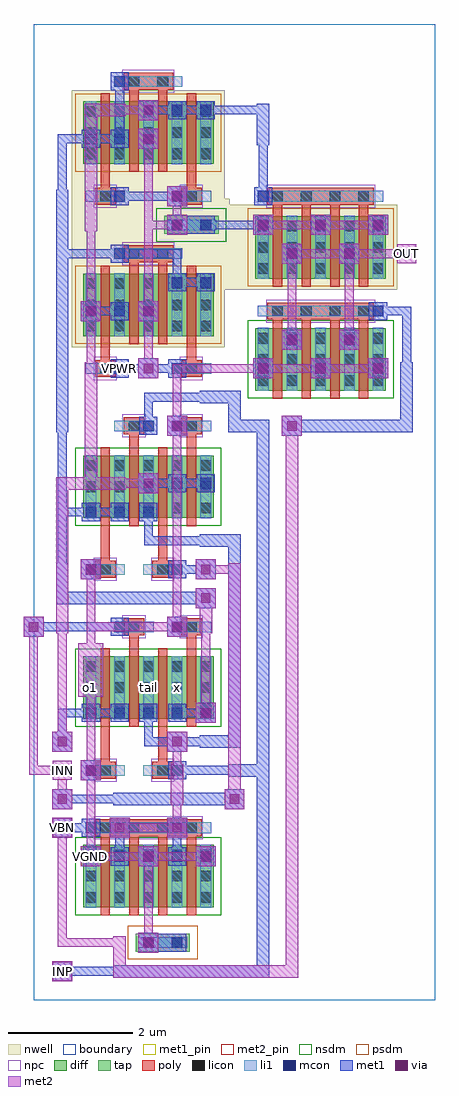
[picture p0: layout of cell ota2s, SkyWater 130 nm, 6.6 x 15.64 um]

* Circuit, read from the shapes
.subckt ota2s INN INP OUT VBN VGND VPWR o1 tail x
XM1 tail VBN VGND VGND sky130_fd_pr__nfet_01v8 w=1 l=0.15 m=4
XM2 o1 VGND o1 VGND sky130_fd_pr__nfet_01v8 w=1 l=0.15 m=2
XM3 x VGND x VGND sky130_fd_pr__nfet_01v8 w=1 l=0.15 m=2
XM4 tail INN o1 VGND sky130_fd_pr__nfet_01v8 w=1 l=0.15 m=2
XM5 tail INP x VGND sky130_fd_pr__nfet_01v8 w=1 l=0.15 m=2
XM6 OUT VBN VGND VGND sky130_fd_pr__nfet_01v8 w=1 l=0.15 m=4
XM7 o1 VPWR o1 VPWR sky130_fd_pr__pfet_01v8 w=1 l=0.15 m=2
XM8 x VPWR x VPWR sky130_fd_pr__pfet_01v8 w=1 l=0.15 m=2
XM9 VPWR x o1 VPWR sky130_fd_pr__pfet_01v8 w=1 l=0.15 m=2
XM10 VPWR x x VPWR sky130_fd_pr__pfet_01v8 w=1 l=0.15 m=2
XM11 OUT o1 VPWR VPWR sky130_fd_pr__pfet_01v8 w=1 l=0.15 m=4
.ends

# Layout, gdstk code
import gdstk
lib = gdstk.Library(unit=1e-6, precision=1e-09)
def R(c, l, rs):  # rectangles x0, y0, x1, y1
    for r in rs: c.add(gdstk.rectangle(r[:2], r[2:], *l))
def A(c, l, x, y, w, h, nx, ny, dx, dy):  # array of equal rectangles
    R(c, l, [(x+i*dx, y+j*dy, x+i*dx+w, y+j*dy+h) for i in range(nx) for j in range(ny)])
nwell = (64, 20)
diff = (65, 20)
tap = (65, 44)
poly = (66, 20)
licon = (66, 44)
li1 = (67, 20)
mcon = (67, 44)
met1_pin = (68, 16)
met1 = (68, 20)
via = (68, 44)
met2_pin = (69, 16)
met2 = (69, 20)
nsdm = (93, 44)
psdm = (94, 20)
npc = (95, 20)
boundary = (235, 4)

ota2s = lib.new_cell('ota2s')
R(ota2s, nwell, [(0.615,10.46,3.065,11.38), (0.615,11.38,5.825,12.74), (0.615,12.74,3.145,12.84), (0.615,12.84,3.065,14.58)])
R(ota2s, diff, [(0.795,1.485,2.885,2.485), (0.795,4.505,2.885,5.505), (0.795,7.725,2.885,8.725), (3.555,9.765,5.645,10.765), (0.795,10.64,2.885,11.64), (3.555,11.56,5.645,12.56), (0.795,13.4,2.885,14.4)])
R(ota2s, tap, [(1.635,0.775,2.505,1.065), (2.095,12.275,2.965,12.565)])
A(ota2s, poly, 1.075, 1.355, 0.15, 1.405, 4, 1, 0.46, 0)
A(ota2s, poly, 0.985, 3.545, 0.33, 0.27, 1, 3, 0, 3.22)
A(ota2s, poly, 3.835, 9.635, 0.15, 1.405, 4, 1, 0.46, 0)
A(ota2s, poly, 3.835, 11.43, 0.15, 1.45, 4, 1, 0.46, 0)
R(ota2s, poly, [(0.985,2.625,2.695,2.895), (1.905,3.545,2.235,3.815), (1.075,3.68,1.225,5.635), (1.995,3.68,2.145,5.635), (1.535,4.375,1.685,5.98), (2.455,4.375,2.605,5.98), (1.445,5.845,1.775,6.115), (2.365,5.845,2.695,6.115), (1.905,6.765,2.235,7.035), (1.075,6.9,1.225,8.855), (1.995,6.9,2.145,8.855), (1.535,7.595,1.685,9.2), (2.455,7.595,2.605,9.2), (1.445,9.065,1.775,9.335), (2.365,9.065,2.695,9.335), (2.365,9.985,2.695,10.255), (1.075,10.12,1.225,11.77), (2.455,10.12,2.605,11.77), (1.535,10.51,1.685,11.96), (1.995,10.51,2.145,11.96), (3.745,10.905,5.455,11.175), (1.445,11.825,2.235,12.095), (0.985,12.745,1.315,13.015), (2.365,12.745,2.695,13.015), (3.745,12.745,5.455,13.015), (1.075,12.88,1.225,14.53), (2.455,12.88,2.605,14.53), (1.535,13.27,1.685,14.72), (1.995,13.27,2.145,14.72), (1.445,14.585,2.235,14.855)])
A(ota2s, licon, 0.835, 1.56, 0.17, 0.17, 5, 3, 0.46, 0.34)
A(ota2s, licon, 1.065, 2.675, 0.17, 0.17, 4, 1, 0.46, 0)
A(ota2s, licon, 1.065, 3.595, 0.17, 0.17, 1, 3, 0, 3.22)
A(ota2s, licon, 0.835, 4.58, 0.17, 0.17, 5, 3, 0.46, 0.34)
A(ota2s, licon, 0.835, 7.8, 0.17, 0.17, 5, 3, 0.46, 0.34)
A(ota2s, licon, 1.525, 9.115, 0.17, 0.17, 1, 3, 0, 2.76)
A(ota2s, licon, 3.595, 9.84, 0.17, 0.17, 5, 3, 0.46, 0.34)
A(ota2s, licon, 0.835, 10.715, 0.17, 0.17, 5, 3, 0.46, 0.34)
A(ota2s, licon, 3.825, 10.955, 0.17, 0.17, 4, 1, 0.46, 0)
A(ota2s, licon, 3.595, 11.635, 0.17, 0.17, 5, 3, 0.46, 0.34)
A(ota2s, licon, 1.065, 12.795, 0.17, 0.17, 3, 1, 1.38, 0)
A(ota2s, licon, 4.285, 12.795, 0.17, 0.17, 3, 1, 0.46, 0)
A(ota2s, licon, 0.835, 13.475, 0.17, 0.17, 5, 3, 0.46, 0.34)
R(ota2s, licon, [(1.755,0.835,1.925,1.005), (2.215,0.835,2.385,1.005), (1.985,3.595,2.155,3.765), (1.525,5.895,1.695,6.065), (2.445,5.895,2.615,6.065), (1.985,6.815,2.155,6.985), (2.445,9.115,2.615,9.285), (2.445,10.035,2.615,10.205), (1.985,11.875,2.155,12.045), (2.215,12.335,2.385,12.505), (2.675,12.335,2.845,12.505), (1.985,14.635,2.155,14.805)])
A(ota2s, li1, 0.835, 1.48, 0.17, 1.01, 5, 2, 0.46, 3.02)
A(ota2s, li1, 0.835, 3.595, 0.63, 0.17, 1, 3, 0, 3.22)
A(ota2s, li1, 0.835, 7.72, 0.17, 1.01, 5, 2, 0.46, 2.915)
A(ota2s, li1, 3.595, 9.76, 0.17, 1.01, 5, 2, 0.46, 1.795)
A(ota2s, li1, 0.835, 13.395, 0.17, 1.01, 5, 1, 0.46, 0)
R(ota2s, li1, [(1.675,0.835,2.465,1.005), (0.835,2.675,2.845,2.845), (1.755,3.595,2.385,3.765), (1.295,5.895,1.925,6.065), (2.215,5.895,2.845,6.065), (1.755,6.815,2.385,6.985), (1.295,9.115,1.925,9.285), (2.215,9.115,2.845,9.285), (2.215,10.035,2.845,10.205), (3.595,10.955,5.605,11.125), (1.295,11.875,2.385,12.045), (2.135,12.335,2.925,12.505), (0.835,12.795,1.465,12.965), (2.215,12.795,2.845,12.965), (3.595,12.795,5.605,12.965), (1.295,14.635,2.385,14.805)])
A(ota2s, mcon, 0.835, 2.215, 0.17, 0.17, 5, 2, 0.46, 2.3)
A(ota2s, mcon, 0.835, 7.735, 0.17, 0.17, 3, 2, 0.46, 3.22)
A(ota2s, mcon, 2.215, 8.195, 0.17, 0.17, 1, 3, 0, 0.92)
A(ota2s, mcon, 3.595, 10.035, 0.17, 0.17, 3, 1, 0.92, 0)
A(ota2s, mcon, 2.675, 12.335, 0.17, 0.17, 4, 1, 0.92, 0)
A(ota2s, mcon, 0.835, 13.715, 0.17, 0.17, 3, 1, 0.46, 0)
R(ota2s, mcon, [(1.755,0.835,1.925,1.005), (2.215,0.835,2.385,1.005), (0.835,2.675,1.005,2.845), (0.835,3.595,1.005,3.765), (2.215,3.595,2.385,3.765), (1.295,5.895,1.465,6.065), (2.215,5.895,2.385,6.065), (0.835,6.815,1.005,6.985), (2.215,6.815,2.385,6.985), (2.675,8.195,2.845,8.365), (1.755,9.115,1.925,9.285), (1.295,10.035,1.465,10.205), (4.055,10.495,4.225,10.665), (4.975,10.495,5.145,10.665), (5.435,10.955,5.605,11.125), (2.215,11.415,2.385,11.585), (2.675,11.415,2.845,11.585), (1.295,11.875,1.465,12.045), (4.055,11.875,4.225,12.045), (4.975,11.875,5.145,12.045), (2.215,12.335,2.385,12.505), (1.295,12.795,1.465,12.965), (2.215,12.795,2.385,12.965), (3.595,12.795,3.765,12.965), (2.215,14.175,2.385,14.345), (2.675,14.175,2.845,14.345), (1.295,14.635,1.465,14.805)])
R(ota2s, met1_pin, [(0.775,2.155,1.065,2.445), (1.235,9.975,1.525,10.265)])
A(ota2s, met1, 0.76, 2.14, 0.32, 0.32, 3, 1, 0.92, 0)
A(ota2s, met1, 0.775, 2.155, 0.29, 0.29, 5, 2, 0.46, 2.3)
A(ota2s, met1, 0.3, 2.6, 0.32, 0.32, 3, 1, 0.92, 0)
A(ota2s, met1, 0.85, 4.53, 0.6, 0.14, 1, 3, 0, 3.22)
A(ota2s, met1, 2.14, 5.82, 0.32, 0.32, 1, 3, 0, 3.22)
A(ota2s, met1, 0.775, 7.675, 0.29, 0.29, 3, 2, 0.46, 3.22)
A(ota2s, met1, 2.155, 8.135, 0.29, 0.29, 1, 3, 0, 0.92)
A(ota2s, met1, 3.98, 9.04, 0.32, 0.32, 1, 3, 0, 1.38)
A(ota2s, met1, 3.52, 9.96, 0.32, 0.32, 3, 2, 0.92, 2.3)
A(ota2s, met1, 3.535, 9.975, 0.29, 0.29, 3, 2, 0.92, 2.3)
A(ota2s, met1, 2.155, 11.355, 0.29, 0.29, 1, 3, 0, 1.38)
A(ota2s, met1, 0.775, 13.655, 0.29, 0.29, 3, 1, 0.46, 0)
R(ota2s, met1, [(0.3,0.3,0.62,0.62), (1.28,0.36,3.78,0.56), (3.58,0.36,3.78,3.78), (0.39,0.39,1.45,0.53), (1.68,0.76,2,1.08), (1.695,0.775,2.445,1.065), (1.77,0.85,1.91,0.99), (1.31,2.23,1.45,2.83), (2.23,2.23,2.37,2.83), (0.775,2.615,1.065,2.905), (0.39,2.69,0.99,2.83), (0.3,3.06,0.62,3.38), (3.06,3.06,3.38,3.38), (1.28,3.12,3.32,3.32), (0.39,3.15,1.45,3.29), (0.76,3.52,1.08,3.84), (0.775,3.535,1.065,3.825), (2.155,3.535,2.445,3.825), (3.12,3.58,3.78,3.78), (3.58,3.58,3.78,9.3), (2.23,3.61,3.29,3.75), (0.3,3.98,0.62,4.3), (2.14,3.98,2.46,4.3), (2.66,4.04,3.32,4.24), (3.12,4.04,3.32,7.46), (0.39,4.07,0.53,4.67), (1.77,4.07,1.91,4.67), (1.77,4.07,2.37,4.21), (2.23,4.07,2.83,4.21), (2.6,4.44,2.92,4.76), (0.39,4.53,0.99,4.67), (2.23,4.53,2.83,4.67), (-0.16,5.82,0.16,6.14), (1.235,5.835,1.525,6.125), (2.155,5.835,2.445,6.125), (-0.07,5.91,1.45,6.05), (2.6,6.28,2.92,6.6), (0.36,6.34,2.86,6.54), (0.36,6.34,0.56,7), (0.76,6.74,1.08,7.06), (2.6,6.74,2.92,7.06), (0.775,6.755,1.065,7.045), (2.155,6.755,2.445,7.045), (0.39,6.83,0.53,7.89), (2.23,6.83,2.83,6.97), (2.66,7.26,3.32,7.46), (1.77,7.29,1.91,7.89), (1.77,7.29,2.83,7.43), (0.39,7.75,0.99,7.89), (0.39,7.75,0.53,9.27), (1.68,8.12,2,8.44), (2.615,8.135,2.905,8.425), (1.77,8.21,2.37,8.35), (2.23,8.21,2.83,8.35), (1.695,9.055,1.985,9.345), (0.36,9.1,0.56,12.06), (3.12,9.1,3.78,9.3), (3.12,9.1,3.32,9.76), (4.04,9.1,6.08,9.3), (5.88,9.1,6.08,10.22), (1.77,9.13,1.91,9.73), (2.66,9.56,3.32,9.76), (1.77,9.59,2.83,9.73), (1.68,9.96,2,10.28), (1.235,9.975,1.525,10.265), (1.31,10.05,2.37,10.19), (5.91,10.05,6.05,11.11), (4.9,10.42,5.22,10.74), (3.995,10.435,4.285,10.725), (4.915,10.435,5.205,10.725), (0.76,10.88,1.08,11.2), (1.68,10.88,2,11.2), (5.375,10.895,5.665,11.185), (5.45,10.97,6.05,11.11), (2.615,11.355,2.905,11.645), (2.23,11.43,2.37,12.03), (2.23,11.43,2.83,11.57), (4.9,11.8,5.22,12.12), (1.235,11.815,1.525,12.105), (3.995,11.815,4.285,12.105), (4.915,11.815,5.205,12.105), (0.36,11.86,0.56,12.98), (0.39,11.89,1.45,12.03), (1.31,11.89,2.37,12.03), (2.155,12.275,2.905,12.565), (2.23,12.35,3.75,12.49), (2.23,12.35,2.37,12.49), (2.14,12.72,2.46,13.04), (1.235,12.735,1.525,13.025), (3.535,12.735,3.825,13.025), (0.39,12.81,0.53,13.87), (1.31,12.81,2.37,12.95), (3.61,12.81,3.75,13.87), (1.68,13.64,2,13.96), (3.58,13.7,3.78,14.36), (0.39,13.73,0.99,13.87), (0.85,13.73,1.45,13.87), (1.31,13.73,1.45,14.79), (1.68,14.1,2,14.42), (2.615,14.115,2.905,14.405), (1.77,14.19,2.37,14.33), (2.23,14.19,2.83,14.33), (2.69,14.19,3.75,14.33), (1.235,14.575,1.525,14.865)])
A(ota2s, via, 0.845, 2.225, 0.15, 0.15, 3, 1, 0.92, 0)
A(ota2s, via, 0.385, 2.685, 0.15, 0.15, 3, 1, 0.92, 0)
A(ota2s, via, 2.225, 5.905, 0.15, 0.15, 1, 3, 0, 3.22)
A(ota2s, via, 4.065, 9.125, 0.15, 0.15, 1, 3, 0, 1.38)
A(ota2s, via, 3.605, 10.045, 0.15, 0.15, 3, 2, 0.92, 2.3)
R(ota2s, via, [(0.385,0.385,0.535,0.535), (1.765,0.845,1.915,0.995), (0.385,3.145,0.535,3.295), (3.145,3.145,3.295,3.295), (0.845,3.605,0.995,3.755), (0.385,4.065,0.535,4.215), (2.225,4.065,2.375,4.215), (2.685,4.525,2.835,4.675), (-0.075,5.905,0.075,6.055), (2.685,6.365,2.835,6.515), (0.845,6.825,0.995,6.975), (2.685,6.825,2.835,6.975), (1.765,8.205,1.915,8.355), (1.765,10.045,1.915,10.195), (4.985,10.505,5.135,10.655), (0.845,10.965,0.995,11.115), (1.765,10.965,1.915,11.115), (4.985,11.885,5.135,12.035), (2.225,12.805,2.375,12.955), (1.765,13.725,1.915,13.875), (1.765,14.185,1.915,14.335)])
R(ota2s, met2_pin, [(0.31,0.31,0.61,0.61), (0.31,2.61,0.61,2.91), (0.31,3.53,0.61,3.83), (5.83,11.81,6.13,12.11)])
A(ota2s, met2, 0.76, 2.14, 0.32, 0.32, 3, 1, 0.92, 0)
A(ota2s, met2, 0.3, 2.6, 0.32, 0.32, 3, 1, 0.92, 0)
A(ota2s, met2, 2.14, 5.82, 0.32, 0.32, 1, 3, 0, 3.22)
A(ota2s, met2, 3.98, 9.04, 0.32, 0.32, 1, 3, 0, 1.38)
A(ota2s, met2, 3.52, 9.96, 0.32, 0.32, 3, 2, 0.92, 2.3)
R(ota2s, met2, [(0.3,0.3,0.62,0.62), (0.31,0.31,0.61,0.61), (1.28,0.36,1.48,1.02), (1.28,0.36,4.24,0.56), (4.04,0.36,4.24,9.3), (0.39,0.39,0.53,0.53), (1.68,0.76,2,1.08), (0.39,0.85,1.45,0.99), (0.39,0.85,0.53,2.83), (1.77,0.85,1.91,2.37), (0.85,2.23,0.99,3.75), (0.85,2.23,1.91,2.37), (1.77,2.23,2.83,2.37), (0.31,2.61,0.61,2.91), (0.39,2.69,0.53,2.83), (1.31,2.69,2.37,2.83), (2.23,2.69,2.37,3.29), (0.3,3.06,0.62,3.38), (3.06,3.06,3.38,3.38), (2.2,3.12,2.4,3.78), (3.12,3.12,3.32,7), (0.39,3.15,0.53,3.75), (0.76,3.52,1.08,3.84), (0.31,3.53,0.61,3.83), (-0.07,3.61,0.53,3.75), (-0.07,3.61,0.07,6.05), (0.39,3.61,0.53,3.75), (0.85,3.61,0.99,5.13), (2.23,3.61,2.37,4.21), (0.3,3.98,0.62,4.3), (2.14,3.98,2.46,4.3), (0.39,4.07,0.53,6.05), (2.6,4.44,2.92,4.76), (2.69,4.53,2.83,6.05), (0.72,4.86,1.12,5.72), (0.85,5.45,0.99,6.97), (-0.16,5.82,0.16,6.14), (0.36,5.88,0.56,8.38), (2.66,5.88,2.86,6.54), (0.85,5.91,2.37,6.05), (2.23,5.91,2.37,9.27), (2.6,6.28,2.92,6.6), (0.76,6.74,1.08,7.06), (2.6,6.74,2.92,7.06), (2.69,6.83,3.29,6.97), (1.68,8.12,2,8.44), (0.36,8.18,1.48,8.38), (0.82,8.18,1.02,10.22), (1.31,8.21,1.91,8.35), (2.23,9.13,2.37,10.19), (1.68,9.96,2,10.28), (0.85,10.05,0.99,11.11), (1.77,10.05,1.91,11.11), (2.23,10.05,3.75,10.19), (3.61,10.05,4.67,10.19), (4.53,10.05,5.59,10.19), (4.9,10.42,5.22,10.74), (4.07,10.51,4.21,12.03), (4.99,10.51,5.13,12.03), (0.76,10.88,1.08,11.2), (1.68,10.88,2,11.2), (0.85,10.97,0.99,12.49), (1.77,10.97,1.91,12.49), (4.9,11.8,5.22,12.12), (5.83,11.81,6.13,12.11), (4.07,11.89,5.13,12.03), (4.99,11.89,6.05,12.03), (5.91,11.89,6.05,12.03), (0.82,12.32,1.02,14.36), (1.77,12.35,1.91,13.87), (1.77,12.35,2.37,12.49), (2.23,12.35,2.37,12.95), (3.61,12.35,4.67,12.49), (4.53,12.35,5.59,12.49), (2.14,12.72,2.46,13.04), (1.68,13.64,2,13.96), (1.68,14.1,2,14.42), (0.82,14.16,1.48,14.36), (1.31,14.19,1.91,14.33)])
R(ota2s, nsdm, [(0.67,1.36,3.01,2.61), (0.67,4.38,3.01,5.63), (0.67,7.6,3.01,8.85), (3.43,9.64,5.77,10.89), (1.97,12.15,3.09,12.69)])
R(ota2s, psdm, [(1.51,0.65,2.63,1.19), (0.67,10.515,3.01,11.765), (3.43,11.435,5.77,12.685), (0.67,13.275,3.01,14.525)])
A(ota2s, npc, 0.965, 3.495, 0.37, 0.37, 1, 3, 0, 3.22)
R(ota2s, npc, [(0.965,2.575,2.715,2.945), (1.885,3.495,2.255,3.865), (1.425,5.795,1.795,6.165), (2.345,5.795,2.715,6.165), (1.885,6.715,2.255,7.085), (1.425,9.015,1.795,9.385), (2.345,9.015,2.715,9.385), (2.345,9.935,2.715,10.305), (3.725,10.855,5.475,11.225), (1.425,11.775,2.255,12.145), (0.965,12.695,1.335,13.065), (2.345,12.695,2.715,13.065), (3.725,12.695,5.475,13.065), (1.425,14.535,2.255,14.905)])
R(ota2s, boundary, [(0,0,6.44,15.64)])
ota2s.add(gdstk.Label('o1', (0.92,5.005), layer=67, texttype=5))
ota2s.add(gdstk.Label('tail', (1.84,5.005), layer=67, texttype=5))
ota2s.add(gdstk.Label('x', (2.3,5.005), layer=67, texttype=5))
ota2s.add(gdstk.Label('VPWR', (1.38,10.12), layer=68, texttype=5))
ota2s.add(gdstk.Label('VGND', (0.92,2.3), layer=68, texttype=5))
ota2s.add(gdstk.Label('INP', (0.46,0.46), layer=69, texttype=5))
ota2s.add(gdstk.Label('INN', (0.46,3.68), layer=69, texttype=5))
ota2s.add(gdstk.Label('VBN', (0.46,2.76), layer=69, texttype=5))
ota2s.add(gdstk.Label('OUT', (5.98,11.96), layer=69, texttype=5))
ota2s.add(gdstk.Label('VPWR', (1.38,10.12), layer=68, texttype=16))
ota2s.add(gdstk.Label('VGND', (0.92,2.3), layer=68, texttype=16))
ota2s.add(gdstk.Label('INP', (0.46,0.46), layer=69, texttype=16))
ota2s.add(gdstk.Label('INN', (0.46,3.68), layer=69, texttype=16))
ota2s.add(gdstk.Label('VBN', (0.46,2.76), layer=69, texttype=16))
ota2s.add(gdstk.Label('OUT', (5.98,11.96), layer=69, texttype=16))

lib.write_gds('ota2s.gds')
